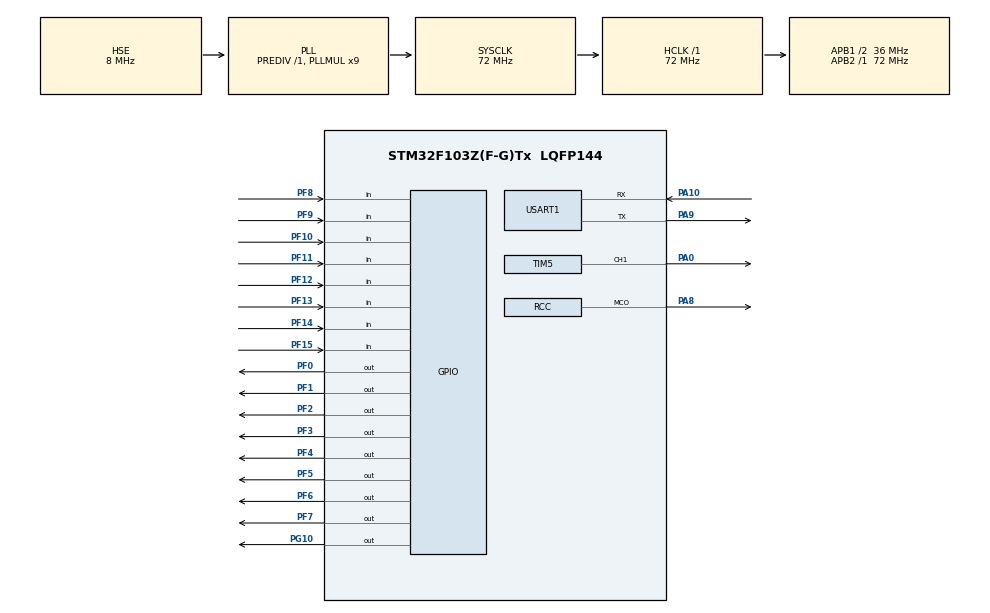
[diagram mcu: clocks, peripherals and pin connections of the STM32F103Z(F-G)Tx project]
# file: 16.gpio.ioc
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Mcu.Family=STM32F1
Mcu.Name=STM32F103Z(F-G)Tx
Mcu.Package=LQFP144
NVIC.PriorityGroup=NVIC_PRIORITYGROUP_4
NVIC.TIM3_IRQn=true\:0\:0\:false\:false\:true\:true\:true
NVIC.TIM4_IRQn=true\:0\:0\:false\:false\:true\:true\:true
NVIC.USART1_IRQn=true\:0\:0\:false\:false\:true\:true\:true
OSC_IN.Mode=HSE-External-Oscillator
OSC_IN.Signal=RCC_OSC_IN
OSC_OUT.Mode=HSE-External-Oscillator
OSC_OUT.Signal=RCC_OSC_OUT
PA0-WKUP.Signal=S_TIM5_CH1
PA10.Mode=Asynchronous
PA10.Signal=USART1_RX
PA13.Mode=Serial_Wire
PA13.Signal=SYS_JTMS-SWDIO
PA14.Mode=Serial_Wire
PA14.Signal=SYS_JTCK-SWCLK
PA8.Mode=Clock-out
PA8.Signal=RCC_MCO
PA9.Mode=Asynchronous
PA9.Signal=USART1_TX
PF0.Signal=GPIO_Output
PF1.Signal=GPIO_Output
PF10.Signal=GPIO_Input
PF11.Signal=GPIO_Input
PF12.Signal=GPIO_Input
PF13.Signal=GPIO_Input
PF14.Signal=GPIO_Input
PF15.Signal=GPIO_Input
PF2.Signal=GPIO_Output
PF3.Signal=GPIO_Output
PF4.Signal=GPIO_Output
PF5.Signal=GPIO_Output
PF6.Signal=GPIO_Output
PF7.Signal=GPIO_Output
PF8.Signal=GPIO_Input
PF9.Signal=GPIO_Input
PG10.Signal=GPIO_Output
ProjectManager.HeapSize=0x200
ProjectManager.StackSize=0x400
ProjectManager.TargetToolchain=MDK-ARM V5.27
RCC.AHBFreq_Value=72000000
RCC.APB1CLKDivider=RCC_HCLK_DIV2
RCC.APB1Freq_Value=36000000
RCC.APB1TimFreq_Value=72000000
RCC.APB2Freq_Value=72000000
RCC.APB2TimFreq_Value=72000000
RCC.HCLKFreq_Value=72000000
RCC.PLLMUL=RCC_PLL_MUL9
RCC.PLLSourceVirtual=RCC_PLLSOURCE_HSE
RCC.RCC_MCOSource=RCC_MCO1SOURCE_HSE
RCC.SYSCLKFreq_VALUE=72000000
RCC.SYSCLKSource=RCC_SYSCLKSOURCE_PLLCLK
RCC.USBFreq_Value=72000000
SH.S_TIM5_CH1.0=TIM5_CH1,PWM Generation1 CH1
TIM3.Period=49999
TIM3.Prescaler=719
TIM4.Period=9999
TIM4.Prescaler=7199
TIM5.Channel-PWM\ Generation1\ CH1=TIM_CHANNEL_1
TIM5.Period=199
TIM5.Prescaler=719
USART1.VirtualMode=VM_ASYNC
VP_TIM3_VS_ClockSourceINT.Mode=Internal
VP_TIM4_VS_ClockSourceINT.Mode=Internal
board=custom

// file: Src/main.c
/* USER CODE BEGIN Header */
/**
  ******************************************************************************
  * @file           : main.c
  * @brief          : Main program body
  ******************************************************************************
  * @attention
  *
  * <h2><center>&copy; Copyright (c) 2021 STMicroelectronics.
  * All rights reserved.</center></h2>
  *
  * This software component is licensed by ST under BSD 3-Clause license,
  * the "License"; You may not use this file except in compliance with the
  * License. You may obtain a copy of the License at:
  *                        opensource.org/licenses/BSD-3-Clause
  *
  ******************************************************************************
  */
/* USER CODE END Header */
#include "main.h"

/* USER CODE BEGIN Includes */
#include <stdio.h>
/* USER CODE END Includes */

TIM_HandleTypeDef htim3;
TIM_HandleTypeDef htim4;
TIM_HandleTypeDef htim5;

UART_HandleTypeDef huart1;

void SystemClock_Config(void);
static void MX_GPIO_Init(void);
static void MX_TIM5_Init(void);
static void MX_TIM3_Init(void);
static void MX_TIM4_Init(void);
static void MX_USART1_UART_Init(void);

/* USER CODE BEGIN 0 */
void HAL_TIM_PeriodElapsedCallback(TIM_HandleTypeDef *htim)
{
	static uint32_t count = 0;
	if(htim->Instance == TIM3)
  {
		HAL_GPIO_TogglePin(GPIOF, GPIO_PIN_1);
  }
	if(htim->Instance == TIM4)
  {
		HAL_GPIO_TogglePin(GPIOG, GPIO_PIN_10);
		count++;
		printf("MOTOR DIRECTION_%d!!!\n\r", count);
  }
}

struct __FILE {
    int dummy;
};

FILE __stdout;

int fputc(int ch, FILE *f)
{
  HAL_UART_Transmit(&huart1, (uint8_t *)&ch, 1, 0xFFFF);
  return ch;
}

/* USER CODE END 0 */

int main(void)
{

  /* MCU Configuration--------------------------------------------------------*/

  /* Reset of all peripherals, Initializes the Flash interface and the Systick. */
  HAL_Init();

  /* Configure the system clock */
  SystemClock_Config();

  /* Initialize all configured peripherals */
  MX_GPIO_Init();
  MX_TIM5_Init();
  MX_TIM3_Init();
  MX_TIM4_Init();
  MX_USART1_UART_Init();

  /* Infinite loop */
  /* USER CODE BEGIN WHILE */

	HAL_TIM_Base_Start_IT(&htim3);
	HAL_TIM_Base_Start_IT(&htim4);
	HAL_TIM_PWM_Start(&htim5, TIM_CHANNEL_1);
	HAL_TIMEx_PWMN_Start(&htim5, TIM_CHANNEL_1);

	__HAL_TIM_SET_COMPARE(&htim5, TIM_CHANNEL_1, 20);

	HAL_GPIO_WritePin(GPIOA, 1<<0, GPIO_PIN_RESET);
  while (1)
  {
		HAL_GPIO_WritePin(GPIOF, (1<<3), GPIO_PIN_SET);
		HAL_Delay(1000);
		HAL_GPIO_WritePin(GPIOF, (1<<3), GPIO_PIN_RESET);
		HAL_Delay(1000);

    /* USER CODE END WHILE */

  }
}

void SystemClock_Config(void)
{
  RCC_OscInitTypeDef RCC_OscInitStruct = {0};
  RCC_ClkInitTypeDef RCC_ClkInitStruct = {0};

  /** Initializes the RCC Oscillators according to the specified parameters
  * in the RCC_OscInitTypeDef structure.
  */
  RCC_OscInitStruct.OscillatorType = RCC_OSCILLATORTYPE_HSE;
  RCC_OscInitStruct.HSEState = RCC_HSE_ON;
  RCC_OscInitStruct.HSEPredivValue = RCC_HSE_PREDIV_DIV1;
  RCC_OscInitStruct.HSIState = RCC_HSI_ON;
  RCC_OscInitStruct.PLL.PLLState = RCC_PLL_ON;
  RCC_OscInitStruct.PLL.PLLSource = RCC_PLLSOURCE_HSE;
  RCC_OscInitStruct.PLL.PLLMUL = RCC_PLL_MUL9;
  if (HAL_RCC_OscConfig(&RCC_OscInitStruct) != HAL_OK)
  {
    Error_Handler();
  }
  /** Initializes the CPU, AHB and APB buses clocks
  */
  RCC_ClkInitStruct.ClockType = RCC_CLOCKTYPE_HCLK|RCC_CLOCKTYPE_SYSCLK
                              |RCC_CLOCKTYPE_PCLK1|RCC_CLOCKTYPE_PCLK2;
  RCC_ClkInitStruct.SYSCLKSource = RCC_SYSCLKSOURCE_PLLCLK;
  RCC_ClkInitStruct.AHBCLKDivider = RCC_SYSCLK_DIV1;
  RCC_ClkInitStruct.APB1CLKDivider = RCC_HCLK_DIV2;
  RCC_ClkInitStruct.APB2CLKDivider = RCC_HCLK_DIV1;

  if (HAL_RCC_ClockConfig(&RCC_ClkInitStruct, FLASH_LATENCY_2) != HAL_OK)
  {
    Error_Handler();
  }
  HAL_RCC_MCOConfig(RCC_MCO, RCC_MCO1SOURCE_HSE, RCC_MCODIV_1);
}

static void MX_TIM3_Init(void)
{

  TIM_ClockConfigTypeDef sClockSourceConfig = {0};
  TIM_MasterConfigTypeDef sMasterConfig = {0};

  htim3.Instance = TIM3;
  htim3.Init.Prescaler = 719;
  htim3.Init.CounterMode = TIM_COUNTERMODE_UP;
  htim3.Init.Period = 49999;
  htim3.Init.ClockDivision = TIM_CLOCKDIVISION_DIV1;
  htim3.Init.AutoReloadPreload = TIM_AUTORELOAD_PRELOAD_DISABLE;
  if (HAL_TIM_Base_Init(&htim3) != HAL_OK)
  {
    Error_Handler();
  }
  sClockSourceConfig.ClockSource = TIM_CLOCKSOURCE_INTERNAL;
  if (HAL_TIM_ConfigClockSource(&htim3, &sClockSourceConfig) != HAL_OK)
  {
    Error_Handler();
  }
  sMasterConfig.MasterOutputTrigger = TIM_TRGO_RESET;
  sMasterConfig.MasterSlaveMode = TIM_MASTERSLAVEMODE_DISABLE;
  if (HAL_TIMEx_MasterConfigSynchronization(&htim3, &sMasterConfig) != HAL_OK)
  {
    Error_Handler();
  }

}

static void MX_TIM4_Init(void)
{

  TIM_ClockConfigTypeDef sClockSourceConfig = {0};
  TIM_MasterConfigTypeDef sMasterConfig = {0};

  htim4.Instance = TIM4;
  htim4.Init.Prescaler = 7199;
  htim4.Init.CounterMode = TIM_COUNTERMODE_UP;
  htim4.Init.Period = 9999;
  htim4.Init.ClockDivision = TIM_CLOCKDIVISION_DIV1;
  htim4.Init.AutoReloadPreload = TIM_AUTORELOAD_PRELOAD_DISABLE;
  if (HAL_TIM_Base_Init(&htim4) != HAL_OK)
  {
    Error_Handler();
  }
  sClockSourceConfig.ClockSource = TIM_CLOCKSOURCE_INTERNAL;
  if (HAL_TIM_ConfigClockSource(&htim4, &sClockSourceConfig) != HAL_OK)
  {
    Error_Handler();
  }
  sMasterConfig.MasterOutputTrigger = TIM_TRGO_RESET;
  sMasterConfig.MasterSlaveMode = TIM_MASTERSLAVEMODE_DISABLE;
  if (HAL_TIMEx_MasterConfigSynchronization(&htim4, &sMasterConfig) != HAL_OK)
  {
    Error_Handler();
  }

}

static void MX_TIM5_Init(void)
{

  TIM_MasterConfigTypeDef sMasterConfig = {0};
  TIM_OC_InitTypeDef sConfigOC = {0};

  htim5.Instance = TIM5;
  htim5.Init.Prescaler = 719;
  htim5.Init.CounterMode = TIM_COUNTERMODE_UP;
  htim5.Init.Period = 199;
  htim5.Init.ClockDivision = TIM_CLOCKDIVISION_DIV1;
  htim5.Init.AutoReloadPreload = TIM_AUTORELOAD_PRELOAD_DISABLE;
  if (HAL_TIM_PWM_Init(&htim5) != HAL_OK)
  {
    Error_Handler();
  }
  sMasterConfig.MasterOutputTrigger = TIM_TRGO_RESET;
  sMasterConfig.MasterSlaveMode = TIM_MASTERSLAVEMODE_DISABLE;
  if (HAL_TIMEx_MasterConfigSynchronization(&htim5, &sMasterConfig) != HAL_OK)
  {
    Error_Handler();
  }
  sConfigOC.OCMode = TIM_OCMODE_PWM1;
  sConfigOC.Pulse = 0;
  sConfigOC.OCPolarity = TIM_OCPOLARITY_HIGH;
  sConfigOC.OCFastMode = TIM_OCFAST_DISABLE;
  if (HAL_TIM_PWM_ConfigChannel(&htim5, &sConfigOC, TIM_CHANNEL_1) != HAL_OK)
  {
    Error_Handler();
  }
  HAL_TIM_MspPostInit(&htim5);

}

static void MX_USART1_UART_Init(void)
{

  huart1.Instance = USART1;
  huart1.Init.BaudRate = 115200;
  huart1.Init.WordLength = UART_WORDLENGTH_8B;
  huart1.Init.StopBits = UART_STOPBITS_1;
  huart1.Init.Parity = UART_PARITY_NONE;
  huart1.Init.Mode = UART_MODE_TX_RX;
  huart1.Init.HwFlowCtl = UART_HWCONTROL_NONE;
  huart1.Init.OverSampling = UART_OVERSAMPLING_16;
  if (HAL_UART_Init(&huart1) != HAL_OK)
  {
    Error_Handler();
  }

}

static void MX_GPIO_Init(void)
{
  GPIO_InitTypeDef GPIO_InitStruct = {0};

  /* GPIO Ports Clock Enable */
  __HAL_RCC_GPIOF_CLK_ENABLE();
  __HAL_RCC_GPIOA_CLK_ENABLE();
  __HAL_RCC_GPIOG_CLK_ENABLE();

  /*Configure GPIO pin Output Level */
  HAL_GPIO_WritePin(GPIOF, GPIO_PIN_0|GPIO_PIN_1|GPIO_PIN_2|GPIO_PIN_3
                          |GPIO_PIN_4|GPIO_PIN_5|GPIO_PIN_6|GPIO_PIN_7, GPIO_PIN_RESET);

  /*Configure GPIO pin Output Level */
  HAL_GPIO_WritePin(GPIOG, GPIO_PIN_10, GPIO_PIN_RESET);

  /*Configure GPIO pins : PF0 PF1 PF2 PF3
                           PF4 PF5 PF6 PF7 */
  GPIO_InitStruct.Pin = GPIO_PIN_0|GPIO_PIN_1|GPIO_PIN_2|GPIO_PIN_3
                          |GPIO_PIN_4|GPIO_PIN_5|GPIO_PIN_6|GPIO_PIN_7;
  GPIO_InitStruct.Mode = GPIO_MODE_OUTPUT_PP;
  GPIO_InitStruct.Pull = GPIO_NOPULL;
  GPIO_InitStruct.Speed = GPIO_SPEED_FREQ_LOW;
  HAL_GPIO_Init(GPIOF, &GPIO_InitStruct);

  /*Configure GPIO pins : PF8 PF9 PF10 PF11
                           PF12 PF13 PF14 PF15 */
  GPIO_InitStruct.Pin = GPIO_PIN_8|GPIO_PIN_9|GPIO_PIN_10|GPIO_PIN_11
                          |GPIO_PIN_12|GPIO_PIN_13|GPIO_PIN_14|GPIO_PIN_15;
  GPIO_InitStruct.Mode = GPIO_MODE_INPUT;
  GPIO_InitStruct.Pull = GPIO_NOPULL;
  HAL_GPIO_Init(GPIOF, &GPIO_InitStruct);

  /*Configure GPIO pin : PA8 */
  GPIO_InitStruct.Pin = GPIO_PIN_8;
  GPIO_InitStruct.Mode = GPIO_MODE_AF_PP;
  GPIO_InitStruct.Speed = GPIO_SPEED_FREQ_LOW;
  HAL_GPIO_Init(GPIOA, &GPIO_InitStruct);

  /*Configure GPIO pin : PG10 */
  GPIO_InitStruct.Pin = GPIO_PIN_10;
  GPIO_InitStruct.Mode = GPIO_MODE_OUTPUT_PP;
  GPIO_InitStruct.Pull = GPIO_NOPULL;
  GPIO_InitStruct.Speed = GPIO_SPEED_FREQ_LOW;
  HAL_GPIO_Init(GPIOG, &GPIO_InitStruct);

}

void Error_Handler(void)
{
  __disable_irq();
  while (1)
  {
  }
}

/************************ (C) COPYRIGHT STMicroelectronics *****END OF FILE****/
